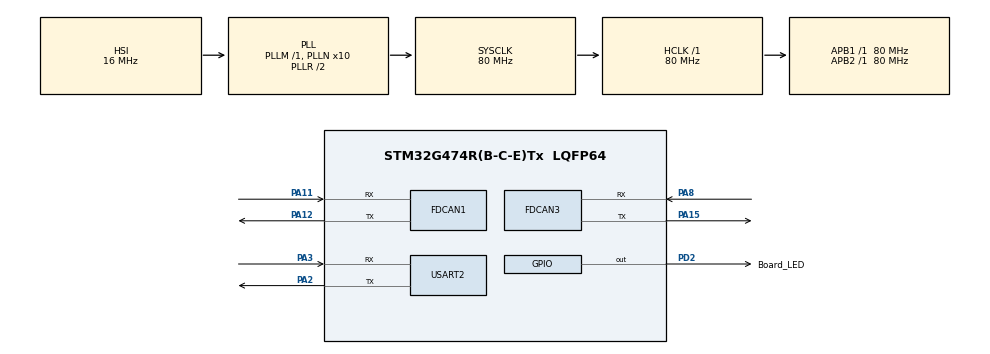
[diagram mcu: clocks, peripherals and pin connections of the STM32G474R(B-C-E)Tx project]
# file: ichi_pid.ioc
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FDCAN1.CalculateBaudRateNominal=1000000
FDCAN1.CalculateTimeBitNominal=1000
FDCAN1.CalculateTimeQuantumNominal=50.0
FDCAN1.DataPrescaler=2
FDCAN1.DataTimeSeg1=15
FDCAN1.DataTimeSeg2=4
FDCAN1.FrameFormat=FDCAN_FRAME_FD_BRS
FDCAN1.NominalPrescaler=4
FDCAN1.NominalTimeSeg1=15
FDCAN1.NominalTimeSeg2=4
FDCAN1.StdFiltersNbr=1
FDCAN3.CalculateBaudRateNominal=1000000
FDCAN3.CalculateTimeBitNominal=1000
FDCAN3.CalculateTimeQuantumNominal=50.0
FDCAN3.DataPrescaler=2
FDCAN3.DataTimeSeg1=15
FDCAN3.DataTimeSeg2=4
FDCAN3.FrameFormat=FDCAN_FRAME_FD_BRS
FDCAN3.NominalPrescaler=4
FDCAN3.NominalTimeSeg1=15
FDCAN3.NominalTimeSeg2=4
FDCAN3.StdFiltersNbr=1
Mcu.Family=STM32G4
Mcu.Name=STM32G474R(B-C-E)Tx
Mcu.Package=LQFP64
NVIC.FDCAN1_IT0_IRQn=true\:0\:0\:false\:false\:true\:true\:true\:true
NVIC.FDCAN1_IT1_IRQn=true\:0\:0\:false\:false\:true\:true\:true\:true
NVIC.FDCAN3_IT0_IRQn=true\:0\:0\:false\:false\:true\:true\:true\:true
NVIC.FDCAN3_IT1_IRQn=true\:0\:0\:false\:false\:true\:true\:true\:true
NVIC.PriorityGroup=NVIC_PRIORITYGROUP_4
NVIC.TIM6_DAC_IRQn=true\:0\:0\:false\:false\:true\:true\:true\:true
NVIC.USART2_IRQn=true\:0\:0\:false\:false\:true\:true\:true\:true
PA11.Mode=FDCAN_Activate
PA11.Signal=FDCAN1_RX
PA12.Mode=FDCAN_Activate
PA12.Signal=FDCAN1_TX
PA15.Mode=FDCAN_Activate
PA15.Signal=FDCAN3_TX
PA2.Mode=Asynchronous
PA2.Signal=USART2_TX
PA3.Mode=Asynchronous
PA3.Signal=USART2_RX
PA8.Mode=FDCAN_Activate
PA8.Signal=FDCAN3_RX
PD2.GPIO_Label=Board_LED
PD2.Signal=GPIO_Output
ProjectManager.HeapSize=0x200
ProjectManager.StackSize=0x400
ProjectManager.TargetToolchain=STM32CubeIDE
RCC.ADC12Freq_Value=80000000
RCC.ADC345Freq_Value=80000000
RCC.AHBFreq_Value=80000000
RCC.APB1Freq_Value=80000000
RCC.APB1TimFreq_Value=80000000
RCC.APB2Freq_Value=80000000
RCC.APB2TimFreq_Value=80000000
RCC.CortexFreq_Value=80000000
RCC.EXTERNAL_CLOCK_VALUE=12288000
RCC.HCLKFreq_Value=80000000
RCC.HSE_VALUE=8000000
RCC.HSI48_VALUE=48000000
RCC.HSI_VALUE=16000000
RCC.LSE_VALUE=32768
RCC.PLLN=10
RCC.SYSCLKFreq_VALUE=80000000
RCC.SYSCLKSource=RCC_SYSCLKSOURCE_PLLCLK
RCC.USBFreq_Value=80000000
RCC.VCOOutputFreq_Value=160000000
TIM6.Prescaler=9
USART2.VirtualMode-Asynchronous=VM_ASYNC
VP_SYS_VS_DBSignals.Mode=DisableDeadBatterySignals
VP_TIM6_VS_ClockSourceINT.Mode=Enable_Timer
board=custom

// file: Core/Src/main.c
/* USER CODE BEGIN Header */
/**
  ******************************************************************************
  * @file           : main.c
  * @brief          : Main program body
  ******************************************************************************
  * @attention
  *
  * Copyright (c) 2024 STMicroelectronics.
  * All rights reserved.
  *
  * This software is licensed under terms that can be found in the LICENSE file
  * in the root directory of this software component.
  * If no LICENSE file comes with this software, it is provided AS-IS.
  *
  ******************************************************************************
  */
/* USER CODE END Header */
#include "main.h"

/* USER CODE BEGIN Includes */
#include <stdio.h>
/* USER CODE END Includes */

/* USER CODE BEGIN PTD */
typedef struct{
	uint16_t CANID;
	uint8_t motorID;
	int16_t actVel;
	double angle;
	int16_t actCurrent;
}motor;
/* USER CODE END PTD */

FDCAN_HandleTypeDef hfdcan1;
FDCAN_HandleTypeDef hfdcan3;

TIM_HandleTypeDef htim6;

UART_HandleTypeDef huart2;

/* USER CODE BEGIN PV */
FDCAN_TxHeaderTypeDef TxHeader;
FDCAN_RxHeaderTypeDef RxHeader;
FDCAN_TxHeaderTypeDef TxHeader_motor;
FDCAN_RxHeaderTypeDef RxHeader_motor;
FDCAN_FilterTypeDef sFilterConfig;

uint8_t TxData[8] = {};
uint8_t RxData[8] = {};
uint8_t TxData_motor[8] = {};
uint8_t RxData_motor[8] = {};

motor robomas[8] = {
		{0x201, 1, 0, 0, 0},
		{0x202, 2, 0, 0, 0},
		{0x203, 3, 0, 0, 0},
		{0x204, 4, 0, 0, 0},
		{0x205, 5, 0, 0, 0},
		{0x206, 6, 0, 0, 0},
		{0x207, 7, 0, 0, 0},
		{0x208, 8, 0, 0, 0},
};
/* USER CODE END PV */

void SystemClock_Config(void);
static void MX_GPIO_Init(void);
static void MX_FDCAN1_Init(void);
static void MX_USART2_UART_Init(void);
static void MX_FDCAN3_Init(void);
static void MX_TIM6_Init(void);

/* USER CODE BEGIN 0 */
void HAL_FDCAN_RxFifo0Callback(FDCAN_HandleTypeDef *hfdcan, uint32_t RxFifo0ITs){
	if ((RxFifo0ITs & FDCAN_IT_RX_FIFO0_NEW_MESSAGE) != RESET) {

	        /* Retrieve Rx messages from RX FIFO0 */
		if (HAL_FDCAN_GetRxMessage(&hfdcan3, FDCAN_RX_FIFO0, &RxHeader_motor, RxData_motor) != HAL_OK) {
			printf("fdcan_getrxmessage_motor is error\r\n");
			Error_Handler();
		}
		for (int i=0; i<=7; i++){
			if (RxHeader_motor.Identifier == (robomas[i].CANID)) {
				robomas[i].angle = (int16_t)((RxData_motor[0] << 8) | RxData_motor[1]);
				robomas[i].actVel = (int16_t)((RxData_motor[2] << 8) | RxData_motor[3]);
				robomas[i].actCurrent = (int16_t)((RxData_motor[4] << 8) | RxData_motor[5]);
			}
		}
	}
}

void HAL_FDCAN_RxFifo1Callback(FDCAN_HandleTypeDef *hfdcan, uint32_t RxFifo1ITs){
	int16_t CANID = 0;
	if (RESET != (RxFifo1ITs & FDCAN_IT_RX_FIFO1_NEW_MESSAGE)) {

	        /* Retrieve Rx messages from RX FIFO0 */

		if (HAL_OK != HAL_FDCAN_GetRxMessage(&hfdcan1, FDCAN_RX_FIFO1, &RxHeader, RxData)) {
			printf("fdcan_getrxmessage is error\r\n");
			Error_Handler();
		}

		if (CANID == RxHeader.Identifier) {

		}
	}
}

void HAL_TIM_PeriodElapsedCallback(TIM_HandleTypeDef *htim){
	if (&htim6 == hitm) {

	}
}

void FDCAN_RxTxSettings(void){
	FDCAN_FilterTypeDef FDCAN_Filter_settings;
	FDCAN_Filter_settings.IdType = FDCAN_STANDARD_ID;
	FDCAN_Filter_settings.FilterIndex = 0;
	FDCAN_Filter_settings.FilterType = FDCAN_FILTER_RANGE;
	FDCAN_Filter_settings.FilterConfig = FDCAN_FILTER_TO_RXFIFO1;
	FDCAN_Filter_settings.FilterID1 = 0;
	FDCAN_Filter_settings.FilterID2 = 0x7FF;

	TxHeader.Identifier = 0x000;
	TxHeader.IdType = FDCAN_STANDARD_ID;
	TxHeader.TxFrameType = FDCAN_DATA_FRAME;
	TxHeader.DataLength = FDCAN_DLC_BYTES_8;
	TxHeader.ErrorStateIndicator = FDCAN_ESI_ACTIVE;
	TxHeader.BitRateSwitch = FDCAN_BRS_ON;
	TxHeader.FDFormat = FDCAN_FD_CAN;
	TxHeader.TxEventFifoControl = FDCAN_NO_TX_EVENTS;
	TxHeader.MessageMarker = 0;

	if (HAL_OK != HAL_FDCAN_ConfigFilter(&hfdcan1, &FDCAN_Filter_settings)){
		printf("fdcan_configfilter is error\r\n");
		Error_Handler();
	}

	if (HAL_OK != HAL_FDCAN_ConfigGlobalFilter(&hfdcan1, FDCAN_REJECT, FDCAN_FILTER_REJECT, FDCAN_FILTER_REMOTE, FDCAN_FILTER_REMOTE)){
		printf("fdcan_configglobalfilter is error\r\n");
		Error_Handler();
	}

	if (HAL_OK != HAL_FDCAN_Start(&hfdcan1)) {
		printf("fdcan_start is error\r\n");
		Error_Handler();
	}

	if (HAL_OK != HAL_FDCAN_ActivateNotification(&hfdcan1, FDCAN_IT_RX_FIFO1_NEW_MESSAGE, 0)){
		printf("fdcan_activatenotification is error\r\n");
		Error_Handler();
	}
}

void FDCAN_motor_RxTxSettings(void) {
	FDCAN_FilterTypeDef FDCAN_Filter_settings_motor;
	FDCAN_Filter_settings_motor.IdType = FDCAN_STANDARD_ID;
	FDCAN_Filter_settings_motor.FilterIndex = 0;
	FDCAN_Filter_settings_motor.FilterType = FDCAN_FILTER_RANGE;
	FDCAN_Filter_settings_motor.FilterConfig = FDCAN_FILTER_TO_RXFIFO0;
	FDCAN_Filter_settings_motor.FilterID1 = 0x200;
	FDCAN_Filter_settings_motor.FilterID2 = 0x210;

	TxHeader_motor.Identifier = 0x200;
	TxHeader_motor.IdType = FDCAN_STANDARD_ID;
	TxHeader_motor.TxFrameType = FDCAN_DATA_FRAME;
	TxHeader_motor.DataLength = FDCAN_DLC_BYTES_8;
	TxHeader_motor.ErrorStateIndicator = FDCAN_ESI_ACTIVE;
	TxHeader_motor.BitRateSwitch = FDCAN_BRS_OFF;
	TxHeader_motor.FDFormat = FDCAN_CLASSIC_CAN;
	TxHeader_motor.TxEventFifoControl = FDCAN_NO_TX_EVENTS;
	TxHeader_motor.MessageMarker = 0;

	if (HAL_OK != HAL_FDCAN_ConfigFilter(&hfdcan3, &FDCAN_Filter_settings_motor)){
		printf("fdcan_configfilter is error\r\n");
		Error_Handler();
	}

	if (HAL_OK != HAL_FDCAN_ConfigGlobalFilter(&hfdcan3, FDCAN_REJECT, FDCAN_FILTER_REJECT, FDCAN_FILTER_REMOTE, FDCAN_FILTER_REMOTE)){
		printf("fdcan_configglobalfilter is error\r\n");
		Error_Handler();
	}

	if (HAL_OK != HAL_FDCAN_Start(&hfdcan3)) {
		printf("fdcan_start is error\r\n");
		Error_Handler();
	}

	if (HAL_OK != HAL_FDCAN_ActivateNotification(&hfdcan3, FDCAN_IT_RX_FIFO0_NEW_MESSAGE, 0)){
		printf("fdcan_activatenotification is error\r\n");
		Error_Handler();
	}
}

int _write(int file, char *ptr, int len)
{
    HAL_UART_Transmit(&huart2,(uint8_t *)ptr,len,10);
    return len;
}
/* USER CODE END 0 */

int main(void)
{

  /* USER CODE BEGIN 1 */
	setbuf(stdout, NULL);
  /* USER CODE END 1 */

  /* MCU Configuration--------------------------------------------------------*/

  /* Reset of all peripherals, Initializes the Flash interface and the Systick. */
  HAL_Init();

  /* Configure the system clock */
  SystemClock_Config();

  /* Initialize all configured peripherals */
  MX_GPIO_Init();
  MX_FDCAN1_Init();
  MX_USART2_UART_Init();
  MX_FDCAN3_Init();
  MX_TIM6_Init();
  /* USER CODE BEGIN 2 */
  printf("start\r\n");
  FDCAN_motor_RxTxSettings();
  printf("can_motor_start\r\n");
  FDCAN_RxTxSettings();
  printf("can start\r\n");
  HAL_TIM_Base_Start_IT(&htim6);
  /* USER CODE END 2 */

  /* Infinite loop */
  while (1)
  {

  }
}

void SystemClock_Config(void)
{
  RCC_OscInitTypeDef RCC_OscInitStruct = {0};
  RCC_ClkInitTypeDef RCC_ClkInitStruct = {0};

  /** Configure the main internal regulator output voltage
  */
  HAL_PWREx_ControlVoltageScaling(PWR_REGULATOR_VOLTAGE_SCALE1);

  /** Initializes the RCC Oscillators according to the specified parameters
  * in the RCC_OscInitTypeDef structure.
  */
  RCC_OscInitStruct.OscillatorType = RCC_OSCILLATORTYPE_HSI;
  RCC_OscInitStruct.HSIState = RCC_HSI_ON;
  RCC_OscInitStruct.HSICalibrationValue = RCC_HSICALIBRATION_DEFAULT;
  RCC_OscInitStruct.PLL.PLLState = RCC_PLL_ON;
  RCC_OscInitStruct.PLL.PLLSource = RCC_PLLSOURCE_HSI;
  RCC_OscInitStruct.PLL.PLLM = RCC_PLLM_DIV1;
  RCC_OscInitStruct.PLL.PLLN = 10;
  RCC_OscInitStruct.PLL.PLLP = RCC_PLLP_DIV2;
  RCC_OscInitStruct.PLL.PLLQ = RCC_PLLQ_DIV2;
  RCC_OscInitStruct.PLL.PLLR = RCC_PLLR_DIV2;
  if (HAL_RCC_OscConfig(&RCC_OscInitStruct) != HAL_OK)
  {
    Error_Handler();
  }

  /** Initializes the CPU, AHB and APB buses clocks
  */
  RCC_ClkInitStruct.ClockType = RCC_CLOCKTYPE_HCLK|RCC_CLOCKTYPE_SYSCLK
                              |RCC_CLOCKTYPE_PCLK1|RCC_CLOCKTYPE_PCLK2;
  RCC_ClkInitStruct.SYSCLKSource = RCC_SYSCLKSOURCE_PLLCLK;
  RCC_ClkInitStruct.AHBCLKDivider = RCC_SYSCLK_DIV1;
  RCC_ClkInitStruct.APB1CLKDivider = RCC_HCLK_DIV1;
  RCC_ClkInitStruct.APB2CLKDivider = RCC_HCLK_DIV1;

  if (HAL_RCC_ClockConfig(&RCC_ClkInitStruct, FLASH_LATENCY_2) != HAL_OK)
  {
    Error_Handler();
  }
}

static void MX_FDCAN1_Init(void)
{

  hfdcan1.Instance = FDCAN1;
  hfdcan1.Init.ClockDivider = FDCAN_CLOCK_DIV1;
  hfdcan1.Init.FrameFormat = FDCAN_FRAME_FD_BRS;
  hfdcan1.Init.Mode = FDCAN_MODE_NORMAL;
  hfdcan1.Init.AutoRetransmission = DISABLE;
  hfdcan1.Init.TransmitPause = DISABLE;
  hfdcan1.Init.ProtocolException = DISABLE;
  hfdcan1.Init.NominalPrescaler = 4;
  hfdcan1.Init.NominalSyncJumpWidth = 1;
  hfdcan1.Init.NominalTimeSeg1 = 15;
  hfdcan1.Init.NominalTimeSeg2 = 4;
  hfdcan1.Init.DataPrescaler = 2;
  hfdcan1.Init.DataSyncJumpWidth = 1;
  hfdcan1.Init.DataTimeSeg1 = 15;
  hfdcan1.Init.DataTimeSeg2 = 4;
  hfdcan1.Init.StdFiltersNbr = 1;
  hfdcan1.Init.ExtFiltersNbr = 0;
  hfdcan1.Init.TxFifoQueueMode = FDCAN_TX_FIFO_OPERATION;
  if (HAL_FDCAN_Init(&hfdcan1) != HAL_OK)
  {
    Error_Handler();
  }

}

static void MX_FDCAN3_Init(void)
{

  hfdcan3.Instance = FDCAN3;
  hfdcan3.Init.ClockDivider = FDCAN_CLOCK_DIV1;
  hfdcan3.Init.FrameFormat = FDCAN_FRAME_FD_BRS;
  hfdcan3.Init.Mode = FDCAN_MODE_NORMAL;
  hfdcan3.Init.AutoRetransmission = DISABLE;
  hfdcan3.Init.TransmitPause = DISABLE;
  hfdcan3.Init.ProtocolException = DISABLE;
  hfdcan3.Init.NominalPrescaler = 4;
  hfdcan3.Init.NominalSyncJumpWidth = 1;
  hfdcan3.Init.NominalTimeSeg1 = 15;
  hfdcan3.Init.NominalTimeSeg2 = 4;
  hfdcan3.Init.DataPrescaler = 2;
  hfdcan3.Init.DataSyncJumpWidth = 1;
  hfdcan3.Init.DataTimeSeg1 = 15;
  hfdcan3.Init.DataTimeSeg2 = 4;
  hfdcan3.Init.StdFiltersNbr = 1;
  hfdcan3.Init.ExtFiltersNbr = 0;
  hfdcan3.Init.TxFifoQueueMode = FDCAN_TX_FIFO_OPERATION;
  if (HAL_FDCAN_Init(&hfdcan3) != HAL_OK)
  {
    Error_Handler();
  }

}

static void MX_TIM6_Init(void)
{

  TIM_MasterConfigTypeDef sMasterConfig = {0};

  htim6.Instance = TIM6;
  htim6.Init.Prescaler = 9;
  htim6.Init.CounterMode = TIM_COUNTERMODE_UP;
  htim6.Init.Period = 65535;
  htim6.Init.AutoReloadPreload = TIM_AUTORELOAD_PRELOAD_DISABLE;
  if (HAL_TIM_Base_Init(&htim6) != HAL_OK)
  {
    Error_Handler();
  }
  sMasterConfig.MasterOutputTrigger = TIM_TRGO_RESET;
  sMasterConfig.MasterSlaveMode = TIM_MASTERSLAVEMODE_DISABLE;
  if (HAL_TIMEx_MasterConfigSynchronization(&htim6, &sMasterConfig) != HAL_OK)
  {
    Error_Handler();
  }

}

static void MX_USART2_UART_Init(void)
{

  huart2.Instance = USART2;
  huart2.Init.BaudRate = 115200;
  huart2.Init.WordLength = UART_WORDLENGTH_8B;
  huart2.Init.StopBits = UART_STOPBITS_1;
  huart2.Init.Parity = UART_PARITY_NONE;
  huart2.Init.Mode = UART_MODE_TX_RX;
  huart2.Init.HwFlowCtl = UART_HWCONTROL_NONE;
  huart2.Init.OverSampling = UART_OVERSAMPLING_16;
  huart2.Init.OneBitSampling = UART_ONE_BIT_SAMPLE_DISABLE;
  huart2.Init.ClockPrescaler = UART_PRESCALER_DIV1;
  huart2.AdvancedInit.AdvFeatureInit = UART_ADVFEATURE_NO_INIT;
  if (HAL_UART_Init(&huart2) != HAL_OK)
  {
    Error_Handler();
  }
  if (HAL_UARTEx_SetTxFifoThreshold(&huart2, UART_TXFIFO_THRESHOLD_1_8) != HAL_OK)
  {
    Error_Handler();
  }
  if (HAL_UARTEx_SetRxFifoThreshold(&huart2, UART_RXFIFO_THRESHOLD_1_8) != HAL_OK)
  {
    Error_Handler();
  }
  if (HAL_UARTEx_DisableFifoMode(&huart2) != HAL_OK)
  {
    Error_Handler();
  }

}

static void MX_GPIO_Init(void)
{
  GPIO_InitTypeDef GPIO_InitStruct = {0};

  /* GPIO Ports Clock Enable */
  __HAL_RCC_GPIOA_CLK_ENABLE();
  __HAL_RCC_GPIOD_CLK_ENABLE();

  /*Configure GPIO pin Output Level */
  HAL_GPIO_WritePin(Board_LED_GPIO_Port, Board_LED_Pin, GPIO_PIN_RESET);

  /*Configure GPIO pin : Board_LED_Pin */
  GPIO_InitStruct.Pin = Board_LED_Pin;
  GPIO_InitStruct.Mode = GPIO_MODE_OUTPUT_PP;
  GPIO_InitStruct.Pull = GPIO_NOPULL;
  GPIO_InitStruct.Speed = GPIO_SPEED_FREQ_LOW;
  HAL_GPIO_Init(Board_LED_GPIO_Port, &GPIO_InitStruct);

}

void Error_Handler(void)
{
  __disable_irq();
  while (1)
  {
  }
}
